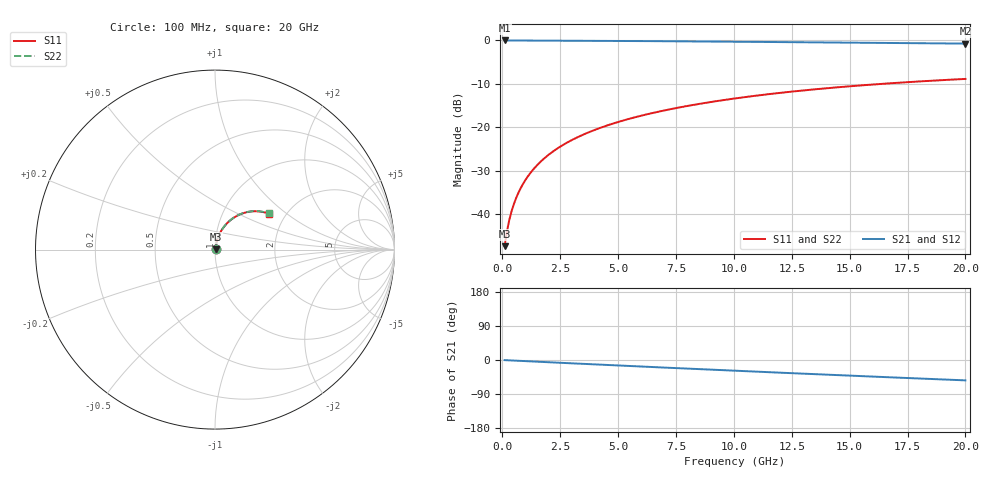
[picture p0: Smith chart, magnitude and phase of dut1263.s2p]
! Touchstone file exported from HFSS 2026.1.0
!  File:  C:/ffzhzh/LocalFiles/Ansys_Project_Files/temp_train_BSMRDL_1263_1783177541_43440.aedt
!  Generated:  11:07:00 PM Jul  4, 2026
!  Design:  BSMRDL
!  Project:  temp_train_BSMRDL_1263_1783177541_43440
! Variables:
!  h_bsmrdl = 5.62um
!  h_ox = 20um
!  h_rdl = 5um
!  h_sub = 80um
!  h_tmrdl = 5um
!  h_tsv = 80um
!  h_via = 3um
!  l_bsmrdl = 898.1um
!  l_sub = 1298.1um
!  l_tmrdl = 200um
!  m_sub = 200um
!  pitch = 34.92um
!  r_tsv = 6um
!  s_tmrdl = 10um
!  w_bsmrdl = 17.71um
!  w_sub = 500um
!  w_tmrdl = 12um
!  x_tsv_center1 = 206um
!  x_tsv_center2 = 1121.81um
!  x_tsv_center3 = 1333.81um
!  x_tsv_center4 = 2249.62um
!  x_tsv_center5 = 2461.62um
!  x_tsv_center6 = 3377.43um
# GHz S MA R 50.000000
! Terminal data exported
! Port[1] = BSM_RDL1_1_T1
! Port[2] = BSM_RDL1_1_T2
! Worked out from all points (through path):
!   200 points, 100 MHz to 20 GHz, reference 50 ohm
!   highest |S21| = -0.03 dB at 100 MHz (marker M1); lowest = -0.8 dB at 20 GHz (marker M2)
!   group delay of S21, straight-line fit = 7.45 ps
!   lowest |S11| = -47.3 dB at 100 MHz (marker M3), VSWR 1.01, Z = 50.3 + j0.273 ohm
!   |S11| at or under -10 dB: start of sweep to 16.4 GHz
!   |S22| runs from -47.3 to -8.9 dB; largest |S21 - S12| = 1.1e-14
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0.1  0.004315 38.9  0.9967 -0.3  0.9967 -0.3  0.004315 38.9
! Gamma 0 0 0 0
! Port Impedance 50 0 50 0
0.2  0.006381 55.4  0.9964 -0.6  0.9964 -0.6  0.006381 55.4
0.3  0.008599 63.2  0.9962 -0.9  0.9962 -0.9  0.008598 63.2
0.4  0.01086 67.8  0.9961 -1.2  0.9961 -1.2  0.01086 67.8
0.5  0.01314 70.8  0.9959 -1.5  0.9959 -1.5  0.01314 70.8
0.6  0.01546 72.9  0.9958 -1.8  0.9958 -1.8  0.01546 72.9
0.8  0.02014 75.4  0.9956 -2.4  0.9956 -2.4  0.02014 75.5
1.1  0.02722 77.3  0.9952 -3.3  0.9952 -3.3  0.02722 77.3
1.3  0.03196 77.8  0.9949 -3.8  0.9949 -3.8  0.03196 77.8
1.6  0.03904 78.0  0.9943 -4.7  0.9943 -4.7  0.03904 78.0
2.1  0.05076 77.6  0.9932 -6.2  0.9932 -6.2  0.05076 77.6
2.7  0.0646 76.5  0.9917 -7.9  0.9917 -7.9  0.06459 76.6
3.5  0.08264 74.7  0.9893 -10.2  0.9893 -10.2  0.08264 74.8
4.2  0.09805 73.1  0.9871 -12.2  0.9871 -12.2  0.09804 73.1
5  0.1153 71.1  0.9843 -14.4  0.9843 -14.4  0.1153 71.1
5.9  0.1341 68.8  0.9811 -16.9  0.9811 -16.9  0.1341 68.8
6.8  0.1526 66.5  0.9776 -19.4  0.9776 -19.4  0.1525 66.6
8.3  0.1822 62.7  0.9715 -23.5  0.9715 -23.5  0.1821 62.8
10.1  0.2159 58.2  0.9636 -28.4  0.9636 -28.4  0.2159 58.3
13.4  0.272 49.9  0.9481 -37.1  0.9481 -37.1  0.272 50.0
16.7  0.3202 41.8  0.9323 -45.6  0.9323 -45.6  0.3202 41.9
20  0.3601 33.8  0.9173 -53.7  0.9173 -53.7  0.3601 34.1
